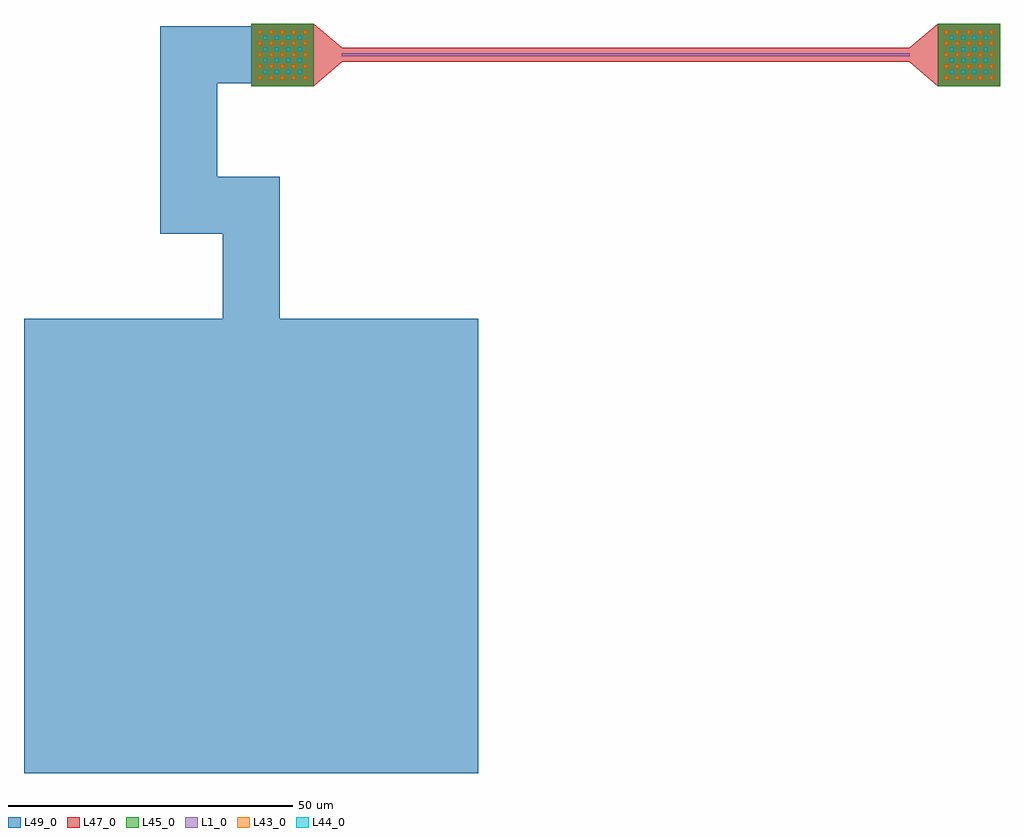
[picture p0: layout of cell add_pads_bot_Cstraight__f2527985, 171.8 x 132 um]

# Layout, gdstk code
from math import pi, radians
import gdstk
lib = gdstk.Library(unit=1e-6, precision=1e-09)
def R(c, l, rs):  # rectangles x0, y0, x1, y1
    for r in rs: c.add(gdstk.rectangle(r[:2], r[2:], *l))
def P(c, l, *ps):  # polygons
    for p in ps: c.add(gdstk.Polygon(p, *l))
L1_0 = (1, 0)
L43_0 = (43, 0)
L44_0 = (44, 0)
L45_0 = (45, 0)
L47_0 = (47, 0)
L49_0 = (49, 0)

compass_s11_11_lheater__ = lib.new_cell('compass_S11_11_LHEATER__b6e1515a')
R(compass_s11_11_lheater__, L47_0, [(-5.5,-5.5,5.5,5.5)])

compass_s11_11_lm2_ptno_ = lib.new_cell('compass_S11_11_LM2_PTNo_77959dec')
R(compass_s11_11_lm2_ptno_, L45_0, [(-5.5,-5.5,5.5,5.5)])

compass_s11_11_lmtop_pt_ = lib.new_cell('compass_S11_11_LMTOP_PT_f51d34f1')
R(compass_s11_11_lmtop_pt_, L49_0, [(-5.5,-5.5,5.5,5.5)])

via_s0p7_0p7_s2_2_gnone_ = lib.new_cell('via_S0p7_0p7_S2_2_GNone_3d643c37')
R(via_s0p7_0p7_s2_2_gnone_, L44_0, [(-0.35,-0.35,0.35,0.35)])

c_via_s0p7_0p7_s2_2_gnone_ = lib.new_cell('via_S0p7_0p7_S2_2_GNone_c4f19208')
R(c_via_s0p7_0p7_s2_2_gnone_, L43_0, [(-0.35,-0.35,0.35,0.35)])

via_stack_s11_11_lheate_ = lib.new_cell('via_stack_S11_11_LHEATE_f29565aa')
via_stack_s11_11_lheate_.add(gdstk.Reference(compass_s11_11_lheater__, (0,0)))
via_stack_s11_11_lheate_.add(gdstk.Reference(compass_s11_11_lm2_ptno_, (0,0)))
via_stack_s11_11_lheate_.add(gdstk.Reference(compass_s11_11_lmtop_pt_, (0,0)))
r = gdstk.Reference(via_s0p7_0p7_s2_2_gnone_, (-3,-3)); r.repetition = gdstk.Repetition(4, 4, v1=(2,0), v2=(0,2)); via_stack_s11_11_lheate_.add(r)
r = gdstk.Reference(c_via_s0p7_0p7_s2_2_gnone_, (-4,-4)); r.repetition = gdstk.Repetition(5, 5, v1=(2,0), v2=(0,2)); via_stack_s11_11_lheate_.add(r)

taper_l5_w11_w2p5_pnone_ = lib.new_cell('taper_L5_W11_W2p5_PNone_4a19c1ba')
P(taper_l5_w11_w2p5_pnone_, L47_0, [(0,-5.5),(0,5.5),(5,1.25),(5,-1.25)])

straight_l0p1_n2_csstrip = lib.new_cell('straight_L0p1_N2_CSstrip')
R(straight_l0p1_n2_csstrip, L1_0, [(0,-0.25,0.1,0.25)])

straight_l2p4_n2_csstri_ = lib.new_cell('straight_L2p4_N2_CSstri_39572eeb')
R(straight_l2p4_n2_csstri_, L1_0, [(0,-0.25,2.4,0.25)])
R(straight_l2p4_n2_csstri_, L47_0, [(0,-1.25,2.4,1.25)])

straight_l5_n2_csstrip__ = lib.new_cell('straight_L5_N2_CSstrip__489d0ccd')
R(straight_l5_n2_csstrip__, L1_0, [(0,-0.25,5,0.25)])
R(straight_l5_n2_csstrip__, L47_0, [(0,-1.25,5,1.25)])

straight_l0_n2_csstrip__ = lib.new_cell('straight_L0_N2_CSstrip__f616e859')

straight_heater_metal_u_ = lib.new_cell('straight_heater_metal_u_c4ab91f6')
straight_heater_metal_u_.add(gdstk.Reference(via_stack_s11_11_lheate_, (-10.4,0)))
straight_heater_metal_u_.add(gdstk.Reference(via_stack_s11_11_lheate_, (110.4,0)))
straight_heater_metal_u_.add(gdstk.Reference(taper_l5_w11_w2p5_pnone_, (-4.9,0)))
straight_heater_metal_u_.add(gdstk.Reference(taper_l5_w11_w2p5_pnone_, (104.9,0), rotation=pi))
straight_heater_metal_u_.add(gdstk.Reference(straight_l0p1_n2_csstrip, (0,0)))
straight_heater_metal_u_.add(gdstk.Reference(straight_l2p4_n2_csstri_, (0.1,0)))
straight_heater_metal_u_.add(gdstk.Reference(straight_l5_n2_csstrip__, (2.5,0)))
straight_heater_metal_u_.add(gdstk.Reference(straight_l0_n2_csstrip__, (7.5,0)))
straight_heater_metal_u_.add(gdstk.Reference(straight_l5_n2_csstrip__, (7.5,0)))
straight_heater_metal_u_.add(gdstk.Reference(straight_l0_n2_csstrip__, (12.5,0)))
straight_heater_metal_u_.add(gdstk.Reference(straight_l5_n2_csstrip__, (12.5,0)))
straight_heater_metal_u_.add(gdstk.Reference(straight_l0_n2_csstrip__, (17.5,0)))
straight_heater_metal_u_.add(gdstk.Reference(straight_l5_n2_csstrip__, (17.5,0)))
straight_heater_metal_u_.add(gdstk.Reference(straight_l0_n2_csstrip__, (22.5,0)))
straight_heater_metal_u_.add(gdstk.Reference(straight_l5_n2_csstrip__, (22.5,0)))
straight_heater_metal_u_.add(gdstk.Reference(straight_l0_n2_csstrip__, (27.5,0)))
straight_heater_metal_u_.add(gdstk.Reference(straight_l5_n2_csstrip__, (27.5,0)))
straight_heater_metal_u_.add(gdstk.Reference(straight_l0_n2_csstrip__, (32.5,0)))
straight_heater_metal_u_.add(gdstk.Reference(straight_l5_n2_csstrip__, (32.5,0)))
straight_heater_metal_u_.add(gdstk.Reference(straight_l0_n2_csstrip__, (37.5,0)))
straight_heater_metal_u_.add(gdstk.Reference(straight_l5_n2_csstrip__, (37.5,0)))
straight_heater_metal_u_.add(gdstk.Reference(straight_l0_n2_csstrip__, (42.5,0)))
straight_heater_metal_u_.add(gdstk.Reference(straight_l5_n2_csstrip__, (42.5,0)))
straight_heater_metal_u_.add(gdstk.Reference(straight_l0_n2_csstrip__, (47.5,0)))
straight_heater_metal_u_.add(gdstk.Reference(straight_l5_n2_csstrip__, (47.5,0)))
straight_heater_metal_u_.add(gdstk.Reference(straight_l0_n2_csstrip__, (52.5,0)))
straight_heater_metal_u_.add(gdstk.Reference(straight_l5_n2_csstrip__, (52.5,0)))
straight_heater_metal_u_.add(gdstk.Reference(straight_l0_n2_csstrip__, (57.5,0)))
straight_heater_metal_u_.add(gdstk.Reference(straight_l5_n2_csstrip__, (57.5,0)))
straight_heater_metal_u_.add(gdstk.Reference(straight_l0_n2_csstrip__, (62.5,0)))
straight_heater_metal_u_.add(gdstk.Reference(straight_l5_n2_csstrip__, (62.5,0)))
straight_heater_metal_u_.add(gdstk.Reference(straight_l0_n2_csstrip__, (67.5,0)))
straight_heater_metal_u_.add(gdstk.Reference(straight_l5_n2_csstrip__, (67.5,0)))
straight_heater_metal_u_.add(gdstk.Reference(straight_l0_n2_csstrip__, (72.5,0)))
straight_heater_metal_u_.add(gdstk.Reference(straight_l5_n2_csstrip__, (72.5,0)))
straight_heater_metal_u_.add(gdstk.Reference(straight_l0_n2_csstrip__, (77.5,0)))
straight_heater_metal_u_.add(gdstk.Reference(straight_l5_n2_csstrip__, (77.5,0)))
straight_heater_metal_u_.add(gdstk.Reference(straight_l0_n2_csstrip__, (82.5,0)))
straight_heater_metal_u_.add(gdstk.Reference(straight_l5_n2_csstrip__, (82.5,0)))
straight_heater_metal_u_.add(gdstk.Reference(straight_l0_n2_csstrip__, (87.5,0)))
straight_heater_metal_u_.add(gdstk.Reference(straight_l5_n2_csstrip__, (87.5,0)))
straight_heater_metal_u_.add(gdstk.Reference(straight_l0_n2_csstrip__, (92.5,0)))
straight_heater_metal_u_.add(gdstk.Reference(straight_l5_n2_csstrip__, (92.5,0)))
straight_heater_metal_u_.add(gdstk.Reference(straight_l0_n2_csstrip__, (97.5,0)))
straight_heater_metal_u_.add(gdstk.Reference(straight_l2p4_n2_csstri_, (97.5,0)))
straight_heater_metal_u_.add(gdstk.Reference(straight_l0p1_n2_csstrip, (99.9,0)))

wire_corner_csmetal_rou_ = lib.new_cell('wire_corner_CSmetal_rou_86a40270')
R(wire_corner_csmetal_rou_, L49_0, [(-5,-5,5,5)])

straight_l11_n2_csmetal_ = lib.new_cell('straight_L11_N2_CSmetal_23e8e554')
R(straight_l11_n2_csmetal_, L49_0, [(0,-5,11,5)])

straight_l10p5_n2_csmet_ = lib.new_cell('straight_L10p5_N2_CSmet_9ecf2f7e')
R(straight_l10p5_n2_csmet_, L49_0, [(0,-5,10.5,5)])

pad_spad_size_lmtop_bln_ = lib.new_cell('pad_Spad_size_LMTOP_BLN_2f7231a2')
R(pad_spad_size_lmtop_bln_, L49_0, [(-40,-40,40,40)])

straight_l20_n2_csmetal_ = lib.new_cell('straight_L20_N2_CSmetal_9b497db9')
R(straight_l20_n2_csmetal_, L49_0, [(0,-5,20,5)])

straight_l16_n2_csmetal_ = lib.new_cell('straight_L16_N2_CSmetal_d8a5cc8c')
R(straight_l16_n2_csmetal_, L49_0, [(0,-5,16,5)])

add_pads_bot_cstraight__ = lib.new_cell('add_pads_bot_Cstraight__f2527985')
add_pads_bot_cstraight__.add(gdstk.Reference(straight_heater_metal_u_, (0,0)))
add_pads_bot_cstraight__.add(gdstk.Reference(wire_corner_csmetal_rou_, (-26.9,0), rotation=pi/2, x_reflection=True))
add_pads_bot_cstraight__.add(gdstk.Reference(straight_l11_n2_csmetal_, (-26.9,0), x_reflection=True))
add_pads_bot_cstraight__.add(gdstk.Reference(straight_l10p5_n2_csmet_, (-26.9,0), rotation=3*pi/2, x_reflection=True))
add_pads_bot_cstraight__.add(gdstk.Reference(pad_spad_size_lmtop_bln_, (-15.9,-86.5), rotation=3*pi/2))
add_pads_bot_cstraight__.add(gdstk.Reference(wire_corner_csmetal_rou_, (-15.9,-26.5), x_reflection=True))
add_pads_bot_cstraight__.add(gdstk.Reference(straight_l20_n2_csmetal_, (-15.9,-26.5), rotation=3*pi/2, x_reflection=True))
add_pads_bot_cstraight__.add(gdstk.Reference(wire_corner_csmetal_rou_, (-26.9,-26.5), rotation=3*pi/2))
add_pads_bot_cstraight__.add(gdstk.Reference(straight_l11_n2_csmetal_, (-26.9,-26.5)))
add_pads_bot_cstraight__.add(gdstk.Reference(straight_l16_n2_csmetal_, (-26.9,-26.5), rotation=pi/2))
add_pads_bot_cstraight__.add(gdstk.Reference(straight_heater_metal_u_, (0,0)))

lib.write_gds('add_pads_bot_Cstraight__f2527985.gds')
